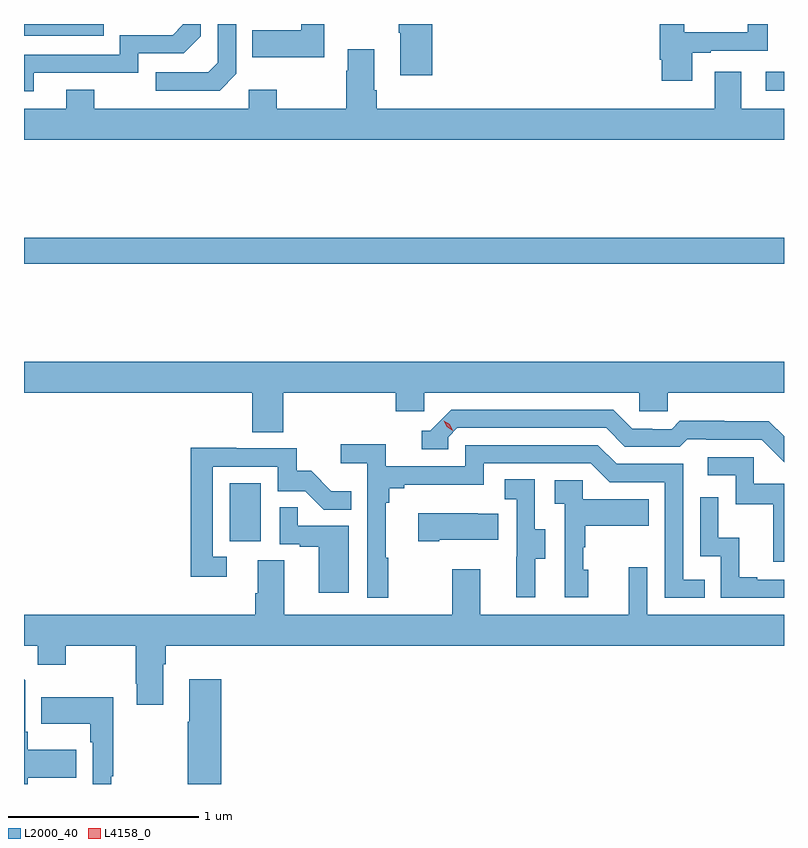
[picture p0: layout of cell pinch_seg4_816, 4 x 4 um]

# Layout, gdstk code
import gdstk
lib = gdstk.Library(unit=1e-6, precision=1e-09)
def R(c, l, rs):  # rectangles x0, y0, x1, y1
    for r in rs: c.add(gdstk.rectangle(r[:2], r[2:], *l))
def P(c, l, *ps):  # polygons
    for p in ps: c.add(gdstk.Polygon(p, *l))
L2000_40 = (2000, 40)
L4158_0 = (4158, 0)

pinch_seg4_816 = lib.new_cell('pinch_seg4_816')
R(pinch_seg4_816, L2000_40, [(793.358,798.702,793.522,799.009), (792.275,800.164,796.275,800.3), (796.179,801.074,796.275,801.175), (792.275,801.363,792.695,801.425)])
P(pinch_seg4_816, L2000_40, [(794.423,801.425),(794.248,801.425),(794.248,801.379),(794.255,801.379),(794.255,801.156),(794.423,801.156)],
  [(795.793,801.273),(795.889,801.273),(795.889,801.285),(796.189,801.285),(796.189,801.425),(796.085,801.425),(796.085,801.381),(795.751,801.381),(795.751,801.425),(795.62,801.425),(795.62,801.238),(795.632,801.238),(795.632,801.126),(795.793,801.126)],
  [(793.855,801.425),(793.734,801.425),(793.734,801.391),(793.477,801.391),(793.477,801.251),(793.855,801.251)],
  [(792.325,801.168),(792.876,801.168),(792.876,801.27),(793.116,801.27),(793.206,801.36),(793.206,801.425),(793.11,801.425),(793.11,801.42),(793.057,801.367),(792.78,801.367),(792.78,801.264),(792.275,801.264),(792.275,801.072),(792.325,801.072)],
  [(793.392,801.162),(793.392,801.425),(793.296,801.425),(793.296,801.222),(793.245,801.171),(792.969,801.171),(792.969,801.075),(793.305,801.075)],
  [(796.275,800.98),(796.051,800.98),(796.051,801.175),(795.911,801.175),(795.911,800.98),(794.132,800.98),(794.132,801.076),(794.119,801.076),(794.119,801.292),(793.979,801.292),(793.979,801.179),(793.972,801.179),(793.972,800.98),(793.605,800.98),(793.605,801.079),(793.458,801.079),(793.458,800.98),(792.645,800.98),(792.645,801.079),(792.497,801.079),(792.497,800.98),(792.275,800.98),(792.275,800.816),(796.275,800.816)],
  [(792.275,799.484),(793.475,799.484),(793.475,799.276),(793.64,799.276),(793.64,799.484),(794.231,799.484),(794.231,799.386),(794.382,799.386),(794.382,799.484),(795.513,799.484),(795.513,799.386),(795.663,799.386),(795.663,799.484),(796.275,799.484),(796.275,799.648),(792.275,799.648)],
  [(796.275,799.254),(796.196,799.333),(795.96,799.333),(795.96,799.336),(795.727,799.336),(795.685,799.293),(795.582,799.293),(795.582,799.296),(795.475,799.296),(795.376,799.395),(794.523,799.395),(794.412,799.284),(794.369,799.284),(794.369,799.188),(794.508,799.188),(794.508,799.251),(794.556,799.299),(795.339,799.299),(795.438,799.2),(795.727,799.2),(795.766,799.239),(795.865,799.239),(795.865,799.236),(796.158,799.236),(796.275,799.119)],
  [(794.191,798.617),(794.179,798.617),(794.179,798.905),(794.198,798.905),(794.198,798.982),(794.275,798.982),(794.275,799.001),(794.694,799.001),(794.694,799.113),(795.258,799.113),(795.357,799.014),(795.648,799.014),(795.648,798.405),(795.857,798.405),(795.857,798.501),(795.744,798.501),(795.744,799.11),(795.394,799.11),(795.295,799.209),(794.598,799.209),(794.598,799.098),(794.18,799.098),(794.18,799.214),(793.941,799.214),(793.941,799.112),(794.082,799.112),(794.082,798.405),(794.191,798.405)],
  [(793.342,798.621),(793.269,798.621),(793.269,799.095),(793.611,799.095),(793.611,798.966),(793.755,798.966),(793.853,798.868),(793.997,798.868),(793.997,798.967),(793.893,798.967),(793.786,799.074),(793.71,799.074),(793.71,799.191),(793.391,799.191),(793.391,799.196),(793.153,799.196),(793.153,798.516),(793.342,798.516)],
  [(796.275,799.005),(796.116,799.005),(796.116,799.146),(795.873,799.146),(795.873,799.05),(796.02,799.05),(796.02,798.897),(796.219,798.897),(796.219,798.594),(796.275,798.594)],
  [(794.965,798.61),(795.019,798.61),(795.019,798.765),(794.964,798.765),(794.964,799.028),(794.805,799.028),(794.805,798.925),(794.868,798.925),(794.868,798.621),(794.867,798.621),(794.867,798.408),(794.965,798.408)],
  [(795.244,798.552),(795.219,798.552),(795.219,798.671),(795.229,798.671),(795.229,798.785),(795.563,798.785),(795.563,798.925),(795.216,798.925),(795.216,799.023),(795.069,799.023),(795.069,798.899),(795.12,798.899),(795.12,798.408),(795.244,798.408)],
  [(796.275,798.501),(796.135,798.501),(796.135,798.514),(796.04,798.514),(796.04,798.722),(795.93,798.722),(795.93,798.934),(795.834,798.934),(795.834,798.624),(795.942,798.624),(795.942,798.405),(796.275,798.405)],
  [(793.984,798.783),(793.715,798.783),(793.715,798.881),(793.62,798.881),(793.62,798.687),(793.727,798.687),(793.727,798.675),(793.826,798.675),(793.826,798.432),(793.984,798.432)],
  [(794.461,798.71),(794.771,798.71),(794.771,798.847),(794.663,798.847),(794.663,798.85),(794.349,798.85),(794.349,798.703),(794.461,798.703)],
  [(793.009,798.056),(793.022,798.056),(793.022,798.152),(796.275,798.152),(796.275,798.316),(795.555,798.316),(795.555,798.565),(795.458,798.565),(795.458,798.316),(794.677,798.316),(794.677,798.556),(794.53,798.556),(794.53,798.316),(793.645,798.316),(793.645,798.602),(793.505,798.602),(793.505,798.428),(793.493,798.428),(793.493,798.316),(792.275,798.316),(792.275,798.152),(792.348,798.152),(792.348,798.053),(792.495,798.053),(792.495,798.152),(792.862,798.152),(792.862,797.953),(792.869,797.953),(792.869,797.841),(793.009,797.841)],
  [(793.313,797.977),(793.145,797.977),(793.145,797.753),(793.138,797.753),(793.138,797.425),(793.313,797.425)],
  [(792.295,797.458),(792.551,797.458),(792.551,797.605),(792.295,797.605),(792.295,797.701),(792.282,797.701),(792.282,797.97),(792.275,797.977),(792.275,797.425),(792.295,797.425)],
  [(792.733,797.465),(792.745,797.465),(792.745,797.881),(792.367,797.881),(792.367,797.741),(792.624,797.741),(792.624,797.645),(792.636,797.645),(792.636,797.425),(792.733,797.425)])
P(pinch_seg4_816, L4158_0, [(794.532,799.285),(794.501,799.305),(794.485,799.337),(794.485,799.338),(794.485,799.338),(794.516,799.318),(794.532,799.285),(794.532,799.285)])

lib.write_gds('pinch_seg4_816.gds')
